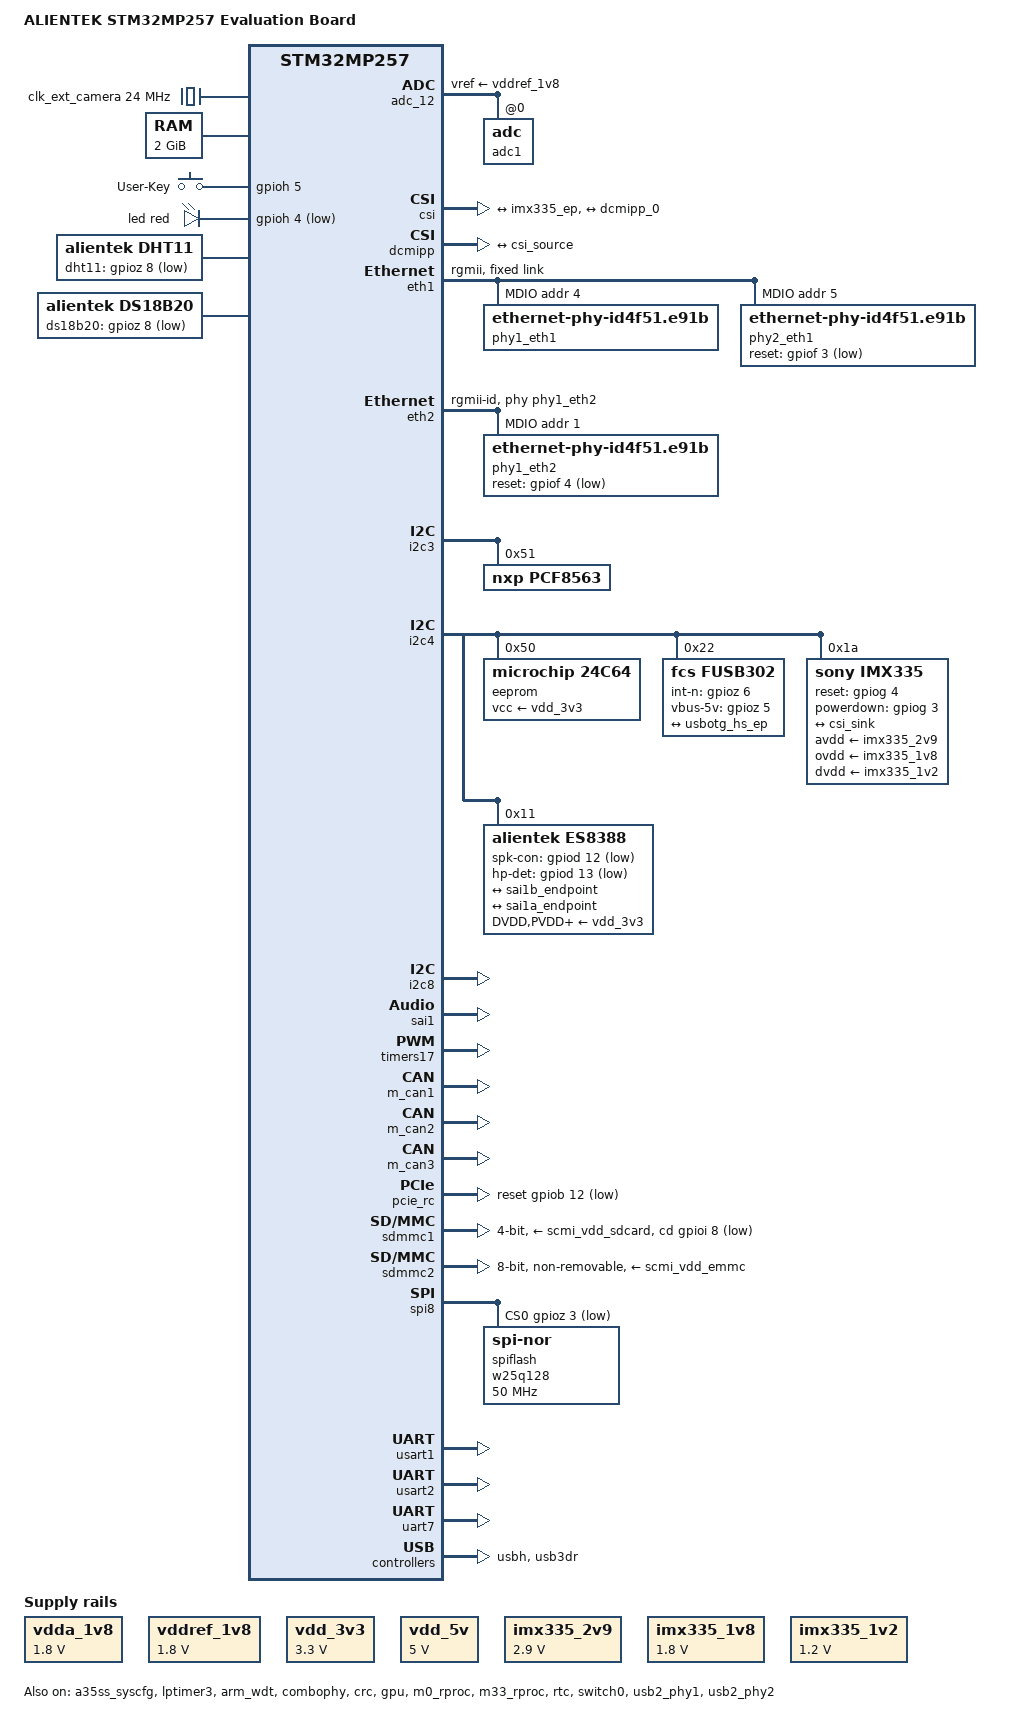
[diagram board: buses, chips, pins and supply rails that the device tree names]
/dts-v1/;

#include <dt-bindings/gpio/gpio.h>
#include <dt-bindings/input/input.h>
#include <dt-bindings/leds/common.h>
#include <dt-bindings/regulator/st,stm32mp25-regulator.h>
#include "stm32mp257.dtsi"
#include "stm32mp25-pinctrl-atk-ddr-2GB.dtsi"
#include "stm32mp25xxak-pinctrl.dtsi"
#include "stm32mp257d-atk-ddr-2GB-ca35tdcid-resmem.dtsi"
#include <dt-bindings/usb/pd.h>

/ {
	model = "ALIENTEK STM32MP257 Evaluation Board";
	compatible = "st,stm32mp257d-atk", "st,stm32mp257";

	aliases {
		ethernet0 = &eth2;
		ethernet1 = &eth1;
		serial0 = &usart2;
		serial1 = &usart1;
		serial2 = &uart7;
		mmc0 = &sdmmc1;
		mmc1 = &sdmmc2;
	};

	chosen {
		stdout-path = "serial0:115200n8";
		#address-cells = <2>;
		#size-cells = <2>;
		ranges;

		framebuffer {
			compatible = "simple-framebuffer";
			clocks = <&rcc CK_BUS_LTDC>, <&rcc CK_KER_LTDC>,
				 <&rcc CK_BUS_LVDS>, <&rcc CK_KER_LVDSPHY>;
			status = "disabled";
		};
	};

	clocks {
		cec_clock: cec-clock {
			compatible = "fixed-clock";
			#clock-cells = <0>;
			clock-frequency = <12000000>;
		};

		clk_ext_camera: clk-ext-camera {
			#clock-cells = <0>;
			compatible = "fixed-clock";
			clock-frequency = <24000000>;
		};

		pad_clk: pad-clk {
			#clock-cells = <0>;
			compatible = "fixed-clock";
			clock-frequency = <100000000>;
		};
	};

	memory@80000000 {
		device_type = "memory";
		reg = <0x0 0x80000000 0x0 0x80000000>;
	};

	gpio-keys {
		compatible = "gpio-keys";

		button-user {
			label = "User-Key";
			linux,code = <BTN_1>;
			gpios = <&gpioh 5 GPIO_ACTIVE_HIGH>;
			gpio-key,wakeup;
			status = "okay";
		};
	};

	gpio-leds {
		compatible = "gpio-leds";
		status = "okay";

		led {
			function = LED_FUNCTION_HEARTBEAT;
			color = <LED_COLOR_ID_RED>;
			gpios = <&gpioh 4 GPIO_ACTIVE_LOW>;
			linux,default-trigger = "heartbeat";
			default-state = "off";
		};
	};

    dht11 {
        compatible = "alientek,dht11";
        dht11-gpio = <&gpioz 8 GPIO_ACTIVE_LOW>;
        status = "okay";
    };

    ds18b20 {
        compatible = "alientek,ds18b20";
        ds18b20-gpio = <&gpioz 8 GPIO_ACTIVE_LOW>;
        status = "okay";
    };

    sound {
        compatible = "audio-graph-card";
        label = "es8388-audio";
		dais = <&sai1a_port &sai1b_port>;
		widgets = 
			"Headphone", "Headphone Jack",
			"Speaker", "Ext Spk",
			"Microphone", "Mic Jack";
        routing =
			"Playback", "MCLK",
    		"Capture", "MCLK",
            "Headphone Jack", "LOUT1",
            "Headphone Jack", "ROUT1",
            "Ext Spk", "LOUT2",
            "Ext Spk", "ROUT2",
            "LINPUT1", "Mic Jack",
            "LINPUT2", "Mic Jack",
            "RINPUT2", "Mic Jack",
            "Mic Jack", "Mic Bias";
    };

	vdda_1v8: regulator-vdda-1v8 {
			compatible = "regulator-fixed";
			regulator-name = "vdda_1v8";
			regulator-min-microvolt = <1800000>;
			regulator-max-microvolt = <1800000>;
			regulator-always-on;
			regulator-boot-on;
	};

	vddref_1v8: regulator-vddref-1v8 {
			compatible = "regulator-fixed";
			regulator-name = "vddref_1v8";
			regulator-min-microvolt = <1800000>;
			regulator-max-microvolt = <1800000>;
			regulator-always-on;
			regulator-boot-on;
	};

	vdd_3v3: regulator-vdd-3v3 {
		compatible = "regulator-fixed";
		regulator-name = "vdd_3v3";
		regulator-min-microvolt = <3300000>;
		regulator-max-microvolt = <3300000>;
		regulator-always-on;
		regulator-boot-on;
	};

	vdd_5v: regulator-vdd-5v {
		compatible = "regulator-fixed";
		regulator-name = "vdd_5v";
		regulator-min-microvolt = <5000000>;
		regulator-max-microvolt = <5000000>;
		regulator-always-on;
		regulator-boot-on;
	};

	imx335_2v9: imx335-2v9 {
		compatible = "regulator-fixed";
		regulator-name = "imx335-avdd";
		regulator-min-microvolt = <2900000>;
		regulator-max-microvolt = <2900000>;
		regulator-always-on;
	};

	imx335_1v8: imx335-1v8 {
		compatible = "regulator-fixed";
		regulator-name = "imx335-ovdd";
		regulator-min-microvolt = <1800000>;
		regulator-max-microvolt = <1800000>;
		regulator-always-on;
	};

	imx335_1v2: imx335-1v2 {
		compatible = "regulator-fixed";
		regulator-name = "imx335-dvdd";
		regulator-min-microvolt = <1200000>;
		regulator-max-microvolt = <1200000>;
		regulator-always-on;
	};
};

&a35ss_syscfg {
	status = "okay";
};

&ipcc1 {
	status = "okay";
};

&ipcc2 {
	status = "okay";
};

/* use LPTIMER with tick broadcast for suspend mode */
&lptimer3 {
	status = "okay";
	timer {
		status = "okay";
	};
};

&ahbsr {
	mbox_client: mailbox-client@1 {
		compatible = "mbox-cdev";
		reg = <1 0>;
		memory-region =  <&ipc_shmem_2>;
		mboxes = <&ipcc2 0>;
		mbox-names = "rx-tx";
		status = "okay";
	};
};

&arm_wdt {
	timeout-sec = <32>;
	status = "okay";
};

&combophy {
	clocks = <&rcc CK_BUS_USB3PCIEPHY>, <&rcc CK_KER_USB3PCIEPHY>, <&pad_clk>;
	clock-names = "apb-clk", "ker-clk", "pad-clk";
	st,rx_equalizer = <1>;
	status = "okay";
};

&crc {
	status = "okay";
};

&adc_12 {
	pinctrl-names = "default";
	pinctrl-0 = <&adc1_in15_pins_a>;
	vdda-supply = <&vdda_1v8>;
	vref-supply = <&vddref_1v8>;
	status = "okay";

	adc1: adc@0 {
		#address-cells = <1>;
		#size-cells = <0>;
		status = "okay";

		channel@15 {
			reg = <15>;               			/* ADC1 in15 channel is used */
			st,min-sample-time-ns = <10000>;  	/* 10µs sampling time */
		};
	};
};

&csi {
	vdd-supply = <&scmi_vddcore>;
	vdda18-supply = <&scmi_v1v8>;
	status = "okay";
	ports {
		#address-cells = <1>;
		#size-cells = <0>;
		port@0 {
			reg = <0>;
			csi_sink: endpoint {			
				remote-endpoint = <&imx335_ep>;	
				data-lanes = <0 1>;
				bus-type = <4>;
			};
		};

		port@1 {
			reg = <1>;
			csi_source: endpoint {
				remote-endpoint = <&dcmipp_0>;
			};
		};
	};
};

&dcmipp {
	status = "okay";
	port {
		dcmipp_0: endpoint {
			remote-endpoint = <&csi_source>;
			bus-type = <4>;
		};
	};
};

&eth1 {
	status = "okay";
	pinctrl-0 = <&eth1_mdio_pins_a>;
	pinctrl-names = "default";
	phy-mode = "rgmii";
	st,eth-clk-sel;
	snps,ext-systime;
    fixed_link: fixed-link {  
    	speed = <1000>;
    	full-duplex;
    };

    mdio1 {
    	#address-cells = <1>;
       	#size-cells = <0>;
    	compatible = "snps,dwmac-mdio";
		phy1_eth1: ethernet-phy@4 {
				compatible = "ethernet-phy-id4f51.e91b",
						"ethernet-phy-ieee802.3-c22";			
				reg = <4>;  
		};
		phy2_eth1: ethernet-phy@5 {
				compatible = "ethernet-phy-id4f51.e91b",
						"ethernet-phy-ieee802.3-c22";
				reset-gpios =  <&gpiof 3 GPIO_ACTIVE_LOW>;
				reset-assert-us = <10000>;
				reset-deassert-us = <80000>;
				reg = <5>;
		};
    };
};

&eth2 {
	status = "okay";
	pinctrl-0 = <&eth2_rgmii_pins_a>;
	pinctrl-1 = <&eth2_rgmii_sleep_pins_a>;
	pinctrl-names = "default", "sleep";
	phy-mode = "rgmii-id";
	max-speed = <1000>;
	phy-handle = <&phy1_eth2>;
	st,eth-ptp-from-rcc;

	mdio1 {
		#address-cells = <1>;
		#size-cells = <0>;
		compatible = "snps,dwmac-mdio";
		phy1_eth2: ethernet-phy@1 {
			compatible = "ethernet-phy-id4f51.e91b";
			reset-gpios =  <&gpiof 4 GPIO_ACTIVE_LOW>;
			reset-assert-us = <10000>;
			reset-deassert-us = <80000>;
			reg = <1>;
		};
	};
};

&gpu {
	contiguous-area = <&gpu_reserved>;
	status = "okay";
};

&hpdma {
	memory-region = <&hpdma1_lli>;
};

&hpdma2 {
	memory-region = <&hpdma2_lli>;
};

&hpdma3 {
	memory-region = <&hpdma3_lli>;
};

&i2c3 {
	pinctrl-names = "default", "sleep";
	pinctrl-0 = <&i2c3_pins_a>;
	pinctrl-1 = <&i2c3_sleep_pins_a>;
	status = "okay";
	/delete-property/dmas;
	/delete-property/dma-names;

	pcf8563@51 {
		compatible = "nxp,pcf8563";
		reg = <0x51>;
		status = "okay";
	};
};

&i2c4 {
	pinctrl-names = "default", "sleep";
	pinctrl-0 = <&i2c4_pins_a>;
	pinctrl-1 = <&i2c4_sleep_pins_a>;
	status = "okay";
	/delete-property/dmas;
	/delete-property/dma-names;

	eeprom@50 {
		compatible = "microchip,24c64", "atmel,24c64";
		pagesize = <32>;
		reg = <0x50>;
		vcc-supply = <&vdd_3v3>;
		status = "okay";
	};

	fusb302@22 {
		compatible = "fcs,fusb302","fairchild,fusb302";
		reg = <0x22>;
		int-n-gpios = <&gpioz 6 GPIO_ACTIVE_HIGH>;
		vbus-5v-gpios = <&gpioz 5 GPIO_ACTIVE_HIGH>;
		status = "okay";

		connector {
			compatible = "usb-c-connector";
			label = "USB-C";
			power-role = "dual";
			power-opmode = "default";
			try-power-role = "sink";
			source-pdos = <PDO_FIXED(5000, 3000, PDO_FIXED_USB_COMM)>;
			sink-pdos = <PDO_FIXED(5000, 3000, PDO_FIXED_USB_COMM)
			PDO_VAR(3000, 12000, 3000)
			PDO_PPS_APDO(3000, 11000, 3000)>;
			op-sink-microwatt = <10000000>;
			
			port {
				con_usbotg_hs_ep: endpoint {
				remote-endpoint = <&usbotg_hs_ep>;
				};
			};
		};
	};

	imx335: imx335@1a {
		compatible = "sony,imx335";
		reg = <0x1a>;
		clocks = <&clk_ext_camera>;
		avdd-supply = <&imx335_2v9>;
		ovdd-supply = <&imx335_1v8>;
		dvdd-supply = <&imx335_1v2>;        
		reset-gpios = <&gpiog 4 (GPIO_ACTIVE_HIGH | GPIO_PUSH_PULL)>;
		powerdown-gpios = <&gpiog 3 (GPIO_ACTIVE_HIGH | GPIO_PUSH_PULL)>;
		status = "okay";

		port {
			imx335_ep: endpoint {
				remote-endpoint = <&csi_sink>;
				clock-lanes = <0>;
				data-lanes = <1 2>;
				link-frequencies = /bits/ 64 <594000000>;
			};
		};
	};

	es8388: es8388@11 {
		compatible = "alientek,es8388";
		reg = <0x11>;
		#sound-dai-cells = <0>;
		spk-con-gpios = <&gpiod 12 GPIO_ACTIVE_LOW>;
		hp-det-gpios = <&gpiod 13 GPIO_ACTIVE_LOW>;
		clocks = <&sai1b>;
		clock-names = "MCLK";
		DVDD-supply = <&vdd_3v3>;
		PVDD-supply = <&vdd_3v3>;
		AVDD-supply = <&vdd_3v3>;
		HPVDD-supply = <&vdd_3v3>;
		status = "okay";

		port {
			#address-cells = <1>;
			#size-cells = <0>;

			es8388_tx_endpoint: endpoint@0 {
				reg = <0>;
				remote-endpoint = <&sai1b_endpoint>;
				frame-master;
				bitclock-master;
			};

			es8388_rx_endpoint: endpoint@1 {
				reg = <1>;
				remote-endpoint = <&sai1a_endpoint>;
				frame-master;
				bitclock-master;
			};
		};
	};
};

&i2c8 {
	pinctrl-names = "default", "sleep";
	pinctrl-0 = <&i2c8_pins_a>;
	pinctrl-1 = <&i2c8_sleep_pins_a>;
	status = "okay";
	/delete-property/dmas;
	/delete-property/dma-names;
};

&sai1 {
	clocks = <&rcc CK_BUS_SAI1>;
	clock-names = "pclk";
	pinctrl-names = "default", "sleep";
	pinctrl-0 = <&sai1a_pins_a>, <&sai1b_pins_b>;
	pinctrl-1 = <&sai1a_sleep_pins_a>, <&sai1b_sleep_pins_b>;
	status = "okay";

	sai1a: audio-controller@40290004 {
		dma-names = "rx";
		clocks = <&rcc CK_KER_SAI1>, <&sai1b>;
		clock-names = "sai_ck", "MCLK";
		dmas = <&hpdma 73 0x43 0x12>;
		st,sync = <&sai1b 2>;
		status = "okay";

		sai1a_port: port {
			sai1a_endpoint: endpoint {
				remote-endpoint = <&es8388_rx_endpoint>;
				dai-format = "i2s";
				mclk-fs = <256>;
				dai-tdm-slot-num = <2>;
				dai-tdm-slot-width = <32>;
			};
		};
 	};

	sai1b: audio-controller@40290024 {
		#clock-cells = <0>;
		dma-names = "tx";
		clock-names = "sai_ck";
		dmas = <&hpdma 74 0x43 0x21>;
		status = "okay";

		sai1b_port: port {
			sai1b_endpoint: endpoint {
				remote-endpoint = <&es8388_tx_endpoint>;
				dai-format = "i2s";
				mclk-fs = <256>;
				dai-tdm-slot-num = <2>;
				dai-tdm-slot-width = <32>;
 			};
 		};		
	};
};

&timers17 {
    status = "okay";
    /* spare dmas for other usage */
    /delete-property/dmas;
    /delete-property/dma-names;

    pwm17: pwm {
        pinctrl-0 = <&pwm17_pins_a>;
        pinctrl-1 = <&pwm17_sleep_pins_a>;
        pinctrl-names = "default", "sleep";
        #pwm-cells = <2>;
        status = "okay";
    };
};

&ipcc1 {
	status = "okay";
};

&m0_rproc {
	mboxes = <&ipcc2 0>, <&ipcc2 1>, <&ipcc2 2>;
	mbox-names = "rx", "tx", "shutdown";
	memory-region = <&cm0_cube_fw>, <&cm0_cube_data>;
	clocks = <&rcc CK_CPU3>,
		 <&rcc CK_CPU3_AM>,
		 <&rcc CK_LPUART1_C3>,
		 <&rcc CK_KER_LPUART1>,
		 <&rcc CK_LPUART1_AM>,
		 <&scmi_clk CK_SCMI_IPCC2>,
		 <&scmi_clk CK_SCMI_IPCC2_AM>;
	status = "okay";
};

&m33_rproc {
	mboxes = <&ipcc1 0x100>, <&ipcc1 0x101>, <&ipcc1 2>;
	mbox-names = "vq0", "vq1", "shutdown";
	memory-region = <&cm33_cube_fw>, <&cm33_cube_data>,
			<&ipc_shmem_1>, <&vdev0vring0>,
			<&vdev0vring1>, <&vdev0buffer>,
			<&cm33_sram2>;
	st,syscfg-nsvtor = <&a35ss_syscfg 0xa8 0xffffff80>;
	status = "okay";
};

&m_can1 {
	pinctrl-names = "default", "sleep";
	pinctrl-0 = <&m_can1_pins_a>;
	pinctrl-1 = <&m_can1_sleep_pins_a>;
	status = "okay";
};

&m_can2 {
	pinctrl-names = "default", "sleep";
	pinctrl-0 = <&m_can2_pins_a>;
	pinctrl-1 = <&m_can2_sleep_pins_a>;
	status = "okay";
};

&m_can3 {
	pinctrl-names = "default", "sleep";
	pinctrl-0 = <&m_can3_pins_a>;
	pinctrl-1 = <&m_can3_sleep_pins_a>;
	status = "okay";
};

&pcie_ep {
	pinctrl-names = "default";
	pinctrl-0 = <&pcie_init_pins_a>;
	reset-gpios = <&gpiob 12 GPIO_ACTIVE_LOW>;
	status = "disabled";
};

&pcie_rc {
	pinctrl-names = "default";
	pinctrl-0 = <&pcie_init_pins_a>;
	reset-gpios = <&gpiob 12 GPIO_ACTIVE_LOW>;
	status = "okay";
};

&rtc {
	status = "okay";
};

&scmi_regu {
	scmi_vddio1: regulator@0 {
		regulator-min-microvolt = <1800000>;
		regulator-max-microvolt = <3300000>;
	};
	scmi_vddcore: regulator@11  {
		reg = <VOLTD_SCMI_STPMIC2_BUCK2>;
		regulator-name = "vddcore";
	};
	scmi_v1v8: regulator@14  {
		reg = <VOLTD_SCMI_STPMIC2_BUCK5>;
		regulator-name = "v1v8";
	};
	scmi_v3v3: regulator@16 {
		reg = <VOLTD_SCMI_STPMIC2_BUCK7>;
		regulator-name = "v3v3";
	};
	scmi_vdd_emmc: regulator@18 {
		reg = <VOLTD_SCMI_STPMIC2_LDO2>;
		regulator-name = "vdd_emmc";
	};
	scmi_vdd3v3_usb: regulator@20 {
		reg = <VOLTD_SCMI_STPMIC2_LDO4>;
		regulator-name = "vdd3v3_usb";
	};
	scmi_vdd_sdcard: regulator@23 {
		reg = <VOLTD_SCMI_STPMIC2_LDO7>;
		regulator-name = "vdd_sdcard";
	};
};

&sdmmc1 {
	pinctrl-names = "default", "opendrain", "sleep";
	pinctrl-0 = <&sdmmc1_b4_pins_a>;
	pinctrl-1 = <&sdmmc1_b4_od_pins_a>;
	pinctrl-2 = <&sdmmc1_b4_sleep_pins_a>;
	cd-gpios = <&gpioi 8 (GPIO_ACTIVE_LOW | GPIO_PULL_UP)>;
	disable-wp;
	st,neg-edge;
	bus-width = <4>;
	vmmc-supply = <&scmi_vdd_sdcard>;
	vqmmc-supply = <&scmi_vddio1>;
	sd-uhs-sdr12;
	sd-uhs-sdr25;
	sd-uhs-sdr50;
	sd-uhs-ddr50;
	sd-uhs-sdr104;
	status = "okay";
};

&sdmmc2 {
	pinctrl-names = "default", "opendrain", "sleep";
	pinctrl-0 = <&sdmmc2_b4_pins_a &sdmmc2_d47_pins_a>;
	pinctrl-1 = <&sdmmc2_b4_od_pins_a &sdmmc2_d47_pins_a>;
	pinctrl-2 = <&sdmmc2_b4_sleep_pins_a &sdmmc2_d47_sleep_pins_a>;
	non-removable;
	no-sd;
	no-sdio;
	st,neg-edge;
	bus-width = <8>;
	vmmc-supply = <&scmi_vdd_emmc>;
	vqmmc-supply = <&scmi_vddio2>;
	mmc-ddr-1_8v;
	status = "okay";
};

&spi8 {
	pinctrl-names = "default", "sleep";
	pinctrl-0 = <&spi8_pins_a>;
	pinctrl-1 = <&spi8_sleep_pins_a>;
	cs-gpios = <&gpioz 3 GPIO_ACTIVE_LOW>;
	status = "okay";

	spiflash: w25q128@0 {
		compatible = "jedec,spi-nor";
		reg = <0>;
		spi-max-frequency = <50000000>;
		status = "okay";
	};
};

&switch0 {
	status = "okay";
	pinctrl-0 = <&eth1_rgmii_pins_a>, <&eth3_rgmii_pins_a>;
	pinctrl-1 = <&eth1_rgmii_sleep_pins_a>, <&eth3_rgmii_sleep_pins_a>;
	pinctrl-names = "default", "sleep";
	phy-mode = "rgmii";
	st,ethsw-internal-125;
};

&usart1 {
	pinctrl-names = "default", "idle", "sleep";
	pinctrl-0 = <&usart1_pins_a>;
	pinctrl-1 = <&usart1_idle_pins_a>;
	pinctrl-2 = <&usart1_sleep_pins_a>;
	status = "okay";
};

&usart2 {
	pinctrl-names = "default", "idle", "sleep";
	pinctrl-0 = <&usart2_pins_a>;
	pinctrl-1 = <&usart2_idle_pins_a>;
	pinctrl-2 = <&usart2_sleep_pins_a>;
	/delete-property/dmas;
	/delete-property/dma-names;
	status = "okay";
};

&uart7 {
	pinctrl-names = "default", "idle", "sleep";
	pinctrl-0 = <&uart7_pins_a>;
	pinctrl-1 = <&uart7_idle_pins_a>;
	pinctrl-2 = <&uart7_sleep_pins_a>;
	status = "okay";
};

&usb2_phy1 {
	vdd33-supply = <&scmi_vdd3v3_usb>;
	status = "okay";
};

&usb2_phy2 {
	vdd33-supply = <&scmi_vdd3v3_usb>;
	status = "okay";
};

&usbh {
	status = "okay";

	usbh_ehci: usb@482f0000 {
		#address-cells = <1>;
		#size-cells = <0>;
	};

	usbh_ohci: usb@482e0000 {
		status = "disabled";
	};
};

&usb3dr {
	status = "okay";

	dwc3: usb@48300000 {
		maximum-speed = "high-speed";
        usb-role-switch;

		port {
			usbotg_hs_ep: endpoint {
				remote-endpoint = <&con_usbotg_hs_ep>;
			};
		};
	};
};
